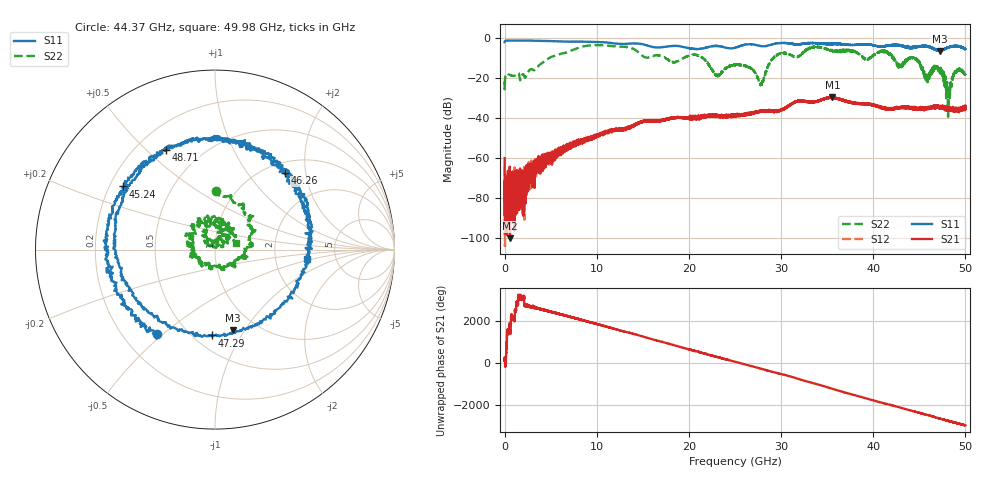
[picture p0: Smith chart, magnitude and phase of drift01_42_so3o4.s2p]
!Created with skrf (http://scikit-rf.org).
# Hz S RI R 50.0
!freq ReS11 ImS11 ReS21 ImS21 ReS12 ImS12 ReS22 ImS22
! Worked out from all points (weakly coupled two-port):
!   10001 points, 300 kHz to 50 GHz, reference 50 ohm
!   highest |S21| = -29.59 dB at 35.57 GHz (marker M1); lowest = -100.0 dB at 580.3 MHz (marker M2)
!   lowest |S11| = -6.8 dB at 47.2 GHz (marker M3), VSWR 2.70, Z = 38.9 - j44.2 ohm
!   |S11| at or under -10 dB: nowhere
!   |S22| runs from -39.5 to -3.6 dB; largest |S21 - S12| = 0.0037
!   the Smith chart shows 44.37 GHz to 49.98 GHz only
!   S11 on the Smith chart (normalised r, x): 44.37 GHz: 0.34, -0.47; 45.24 GHz: 0.26, +0.29; 46.26 GHz: 1.21, +1.54; 47.29 GHz: 0.61, -0.76; 48.71 GHz: 0.32, +0.58; 49.98 GHz: 3.07, -0.42
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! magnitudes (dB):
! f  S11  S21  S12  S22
! 300 kHz  -2.2  -60.0  -64.3  -21.8
! 580.3 MHz  -1.5  -100.0  -73.6  -18.6
! 8.335 GHz  -1.9  -51.8  -51.5  -4.6
! 16.67 GHz  -4.8  -41.5  -41.7  -8.7
! 20.96 GHz  -5.6  -39.5  -39.7  -8.7
! 23.07 GHz  -4.1  -38.9  -39.0  -18.7
! 25 GHz  -5.0  -38.9  -38.6  -13.7
! 27.83 GHz  -4.2  -36.8  -36.6  -22.8
! 29.47 GHz  -2.9  -36.7  -36.8  -8.8
! 33.34 GHz  -2.6  -32.1  -32.0  -4.7
! 35.57 GHz  -2.9  -29.6  -29.9  -6.3
! 41.67 GHz  -3.9  -35.7  -35.3  -7.7
! 42.82 GHz  -3.9  -34.7  -34.9  -13.4
! 44.37 GHz  -4.9  -35.0  -35.3  -9.8
! 45.24 GHz  -4.2  -35.4  -35.5  -14.9
! 46.26 GHz  -4.8  -34.4  -35.1  -18.1
! 47.2 GHz  -6.8  -34.8  -34.7  -15.7
! 47.29 GHz  -6.4  -35.0  -34.1  -16.2
! 48.12 GHz  -4.9  -34.9  -35.4  -38.5
! 48.71 GHz  -4.2  -35.9  -35.7  -18.5
! 49.98 GHz  -5.7  -34.7  -35.1  -18.1
! 50 GHz  -5.6  -34.4  -35.0  -18.5
